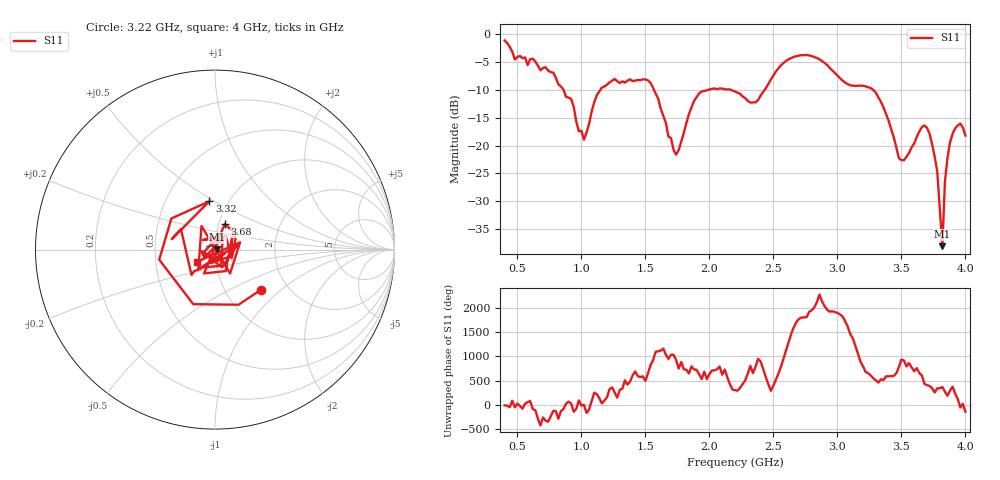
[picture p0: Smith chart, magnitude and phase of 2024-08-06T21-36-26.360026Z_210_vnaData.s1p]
!Created with skrf (http://scikit-rf.org).
# Hz S RI R 50.0
!freq ReS11 ImS11
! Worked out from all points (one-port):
!   181 points, 400 MHz to 4 GHz, reference 50 ohm
!   lowest |S11| = -38.1 dB at 3.82 GHz (marker M1), VSWR 1.03, Z = 51.3 + j0.144 ohm
!   |S11| at or under -10 dB: 860.9 MHz to 1.148 GHz (287.2 MHz wide, 28.6 % of centre); 1.567 GHz to 1.991 GHz (423.7 MHz wide, 23.8 % of centre); 3.279 GHz to end of sweep (the widest 3 of 4)
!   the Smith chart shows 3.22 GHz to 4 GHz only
!   S11 on the Smith chart (normalised r, x): 3.22 GHz: 1.47, -0.74; 3.32 GHz: 0.81, +0.47; 3.68 GHz: 1.07, +0.31; 4 GHz: 0.81, -0.11
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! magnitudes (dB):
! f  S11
! 400 MHz  -1.1
! 480 MHz  -4.6
! 620 MHz  -4.4
! 860 MHz  -9.9
! 1.02 GHz  -18.9
! 1.12 GHz  -11.0
! 1.3 GHz  -8.8
! 1.54 GHz  -8.8
! 1.72 GHz  -20.8
! 1.76 GHz  -20.8
! 1.92 GHz  -10.6
! 2.2 GHz  -10.3
! 2.36 GHz  -12.2
! 2.66 GHz  -4.1
! 2.86 GHz  -4.5
! 3.1 GHz  -9.2
! 3.22 GHz  -9.4
! 3.32 GHz  -11.3
! 3.48 GHz  -22.2
! 3.56 GHz  -21.3
! 3.68 GHz  -16.4
! 3.72 GHz  -17.8
! 3.78 GHz  -24.6
! 3.82 GHz  -38.1
! 3.84 GHz  -26.5
! 3.88 GHz  -19.5
! 3.96 GHz  -16.1
! 4 GHz  -18.2
